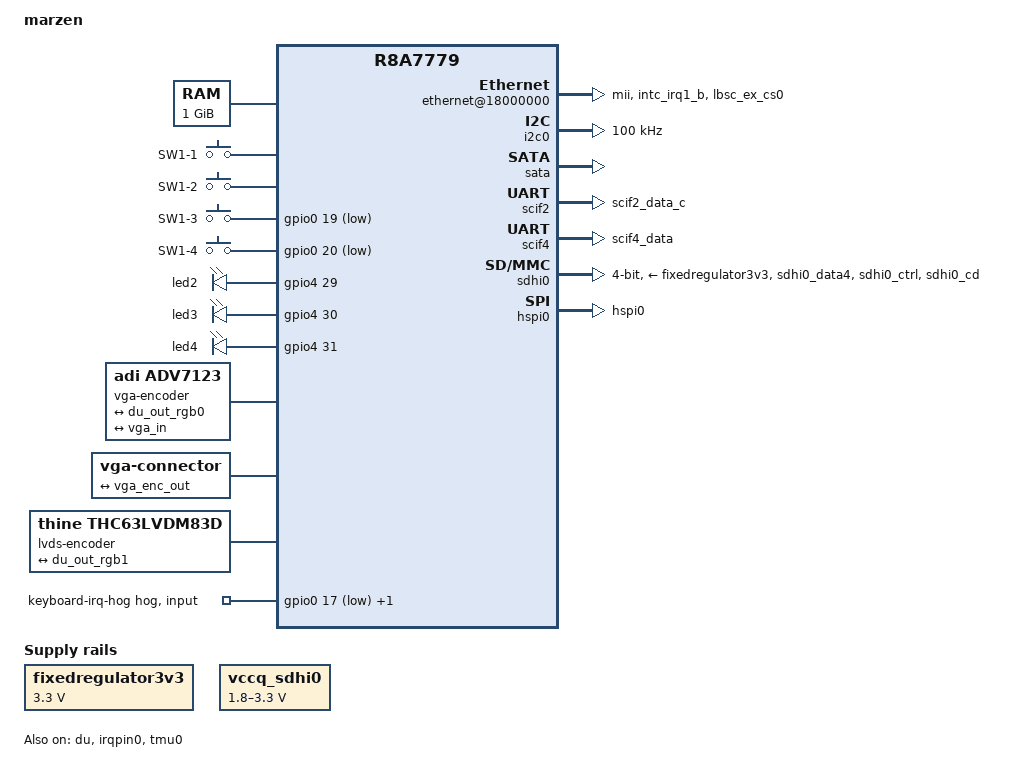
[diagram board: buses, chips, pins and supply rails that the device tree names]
// SPDX-License-Identifier: GPL-2.0
/*
 * Device Tree Source for the R-Car H1 (R8A77790) Marzen board
 *
 * Copyright (C) 2013 Renesas Solutions Corp.
 * Copyright (C) 2013 Simon Horman
 */

/dts-v1/;
#include "r8a7779.dtsi"
#include <dt-bindings/gpio/gpio.h>
#include <dt-bindings/input/input.h>
#include <dt-bindings/interrupt-controller/irq.h>

/ {
	model = "marzen";
	compatible = "renesas,marzen", "renesas,r8a7779";

	aliases {
		serial0 = &scif2;
		serial1 = &scif4;
	};

	chosen {
		bootargs = "ignore_loglevel rw root=/dev/nfs ip=on";
		stdout-path = "serial0:115200n8";
	};

	memory@60000000 {
		device_type = "memory";
		reg = <0x60000000 0x40000000>;
	};

	fixedregulator3v3: regulator-3v3 {
		compatible = "regulator-fixed";
		regulator-name = "fixed-3.3V";
		regulator-min-microvolt = <3300000>;
		regulator-max-microvolt = <3300000>;
		regulator-boot-on;
		regulator-always-on;
	};

	vccq_sdhi0: regulator-vccq-sdhi0 {
		compatible = "regulator-gpio";

		regulator-name = "SDHI0 VccQ";
		regulator-min-microvolt = <1800000>;
		regulator-max-microvolt = <3300000>;

		gpios = <&gpio3 20 GPIO_ACTIVE_HIGH>;
		gpios-states = <1>;
		states = <3300000 1>, <1800000 0>;
	};

	ethernet@18000000 {
		compatible = "smsc,lan89218", "smsc,lan9115";
		reg = <0x18000000 0x100>;
		pinctrl-0 = <&ethernet_pins>;
		pinctrl-names = "default";

		phy-mode = "mii";
		interrupt-parent = <&irqpin0>;
		interrupts = <1 IRQ_TYPE_EDGE_FALLING>;
		smsc,irq-push-pull;
		reg-io-width = <4>;
		vddvario-supply = <&fixedregulator3v3>;
		vdd33a-supply = <&fixedregulator3v3>;
	};

	keyboard-irq {
		compatible = "gpio-keys";

		pinctrl-0 = <&keyboard_irq_pins>;
		pinctrl-names = "default";

		interrupt-parent = <&gpio0>;

		key-1 {
			interrupts = <17 IRQ_TYPE_EDGE_FALLING>;
			linux,code = <KEY_1>;
			label = "SW1-1";
			wakeup-source;
			debounce-interval = <20>;
		};
		key-2 {
			interrupts = <18 IRQ_TYPE_EDGE_FALLING>;
			linux,code = <KEY_2>;
			label = "SW1-2";
			wakeup-source;
			debounce-interval = <20>;
		};
	};

	keyboard-gpio {
		compatible = "gpio-keys-polled";
		poll-interval = <50>;

		pinctrl-0 = <&keyboard_gpio_pins>;
		pinctrl-names = "default";

		key-3 {
			gpios = <&gpio0 19 GPIO_ACTIVE_LOW>;
			linux,code = <KEY_3>;
			label = "SW1-3";
			debounce-interval = <20>;
		};
		key-4 {
			gpios = <&gpio0 20 GPIO_ACTIVE_LOW>;
			linux,code = <KEY_4>;
			label = "SW1-4";
			debounce-interval = <20>;
		};
	};

	leds {
		compatible = "gpio-leds";
		led2 {
			gpios = <&gpio4 29 GPIO_ACTIVE_HIGH>;
		};
		led3 {
			gpios = <&gpio4 30 GPIO_ACTIVE_HIGH>;
		};
		led4 {
			gpios = <&gpio4 31 GPIO_ACTIVE_HIGH>;
		};
	};

	vga-encoder {
		compatible = "adi,adv7123";

		ports {
			#address-cells = <1>;
			#size-cells = <0>;

			port@0 {
				reg = <0>;
				vga_enc_in: endpoint {
					remote-endpoint = <&du_out_rgb0>;
				};
			};
			port@1 {
				reg = <1>;
				vga_enc_out: endpoint {
					remote-endpoint = <&vga_in>;
				};
			};
		};
	};

	vga {
		compatible = "vga-connector";

		port {
			vga_in: endpoint {
				remote-endpoint = <&vga_enc_out>;
			};
		};
	};

	lvds-encoder {
		compatible = "thine,thc63lvdm83d";

		ports {
			#address-cells = <1>;
			#size-cells = <0>;

			port@0 {
				reg = <0>;
				lvds_enc_in: endpoint {
					remote-endpoint = <&du_out_rgb1>;
				};
			};
			port@1 {
				reg = <1>;
				lvds_connector: endpoint {
				};
			};
		};
	};

	x3_clk: x3-clock {
		compatible = "fixed-clock";
		#clock-cells = <0>;
		clock-frequency = <65000000>;
	};
};

&du {
	pinctrl-0 = <&du_pins>;
	pinctrl-names = "default";
	status = "okay";

	clocks = <&mstp1_clks R8A7779_CLK_DU>, <&x3_clk>;
	clock-names = "du.0", "dclkin.0";

	ports {
		port@0 {
			endpoint {
				remote-endpoint = <&vga_enc_in>;
			};
		};
		port@1 {
			endpoint {
				remote-endpoint = <&lvds_enc_in>;
			};
		};
	};
};

&gpio0 {
	keyboard-irq-hog {
		gpio-hog;
		gpios = <17 GPIO_ACTIVE_LOW>, <18 GPIO_ACTIVE_LOW>;
		input;
	};
};

&i2c0 {
	status = "okay";

	clock-frequency = <100000>;
};

&irqpin0 {
	status = "okay";
};

&extal_clk {
	clock-frequency = <31250000>;
};

&tmu0 {
	status = "okay";
};

&pfc {
	pinctrl-0 = <&scif_clk_pins>;
	pinctrl-names = "default";

	du_pins: du {
		du0 {
			groups = "du0_rgb888", "du0_sync_1", "du0_clk_out_0", "du0_clk_in";
			function = "du0";
		};
		du1 {
			groups = "du1_rgb666", "du1_sync_1", "du1_clk_out";
			function = "du1";
		};
	};

	scif_clk_pins: scif_clk {
		groups = "scif_clk_b";
		function = "scif_clk";
	};

	ethernet_pins: ethernet {
		intc {
			groups = "intc_irq1_b";
			function = "intc";
		};
		lbsc {
			groups = "lbsc_ex_cs0";
			function = "lbsc";
		};
	};

	scif2_pins: scif2 {
		groups = "scif2_data_c";
		function = "scif2";
	};

	scif4_pins: scif4 {
		groups = "scif4_data";
		function = "scif4";
	};

	sdhi0_pins: sd0 {
		groups = "sdhi0_data4", "sdhi0_ctrl", "sdhi0_cd";
		function = "sdhi0";
	};

	hspi0_pins: hspi0 {
		groups = "hspi0";
		function = "hspi0";
	};

	keyboard_irq_pins: keyboard-irq {
		pins = "GP_0_17", "GP_0_18";
		bias-pull-up;
	};
	keyboard_gpio_pins: keyboard-gpio {
		pins = "GP_0_19", "GP_0_20";
		bias-pull-up;
	};
};

&sata {
	status = "okay";
};

&scif2 {
	pinctrl-0 = <&scif2_pins>;
	pinctrl-names = "default";

	status = "okay";
};

&scif4 {
	pinctrl-0 = <&scif4_pins>;
	pinctrl-names = "default";

	status = "okay";
};

&scif_clk {
	clock-frequency = <14745600>;
};

&sdhi0 {
	pinctrl-0 = <&sdhi0_pins>;
	pinctrl-names = "default";

	vmmc-supply = <&fixedregulator3v3>;
	vqmmc-supply = <&vccq_sdhi0>;
	bus-width = <4>;
	status = "okay";
};

&hspi0 {
	pinctrl-0 = <&hspi0_pins>;
	pinctrl-names = "default";
	status = "okay";
};
